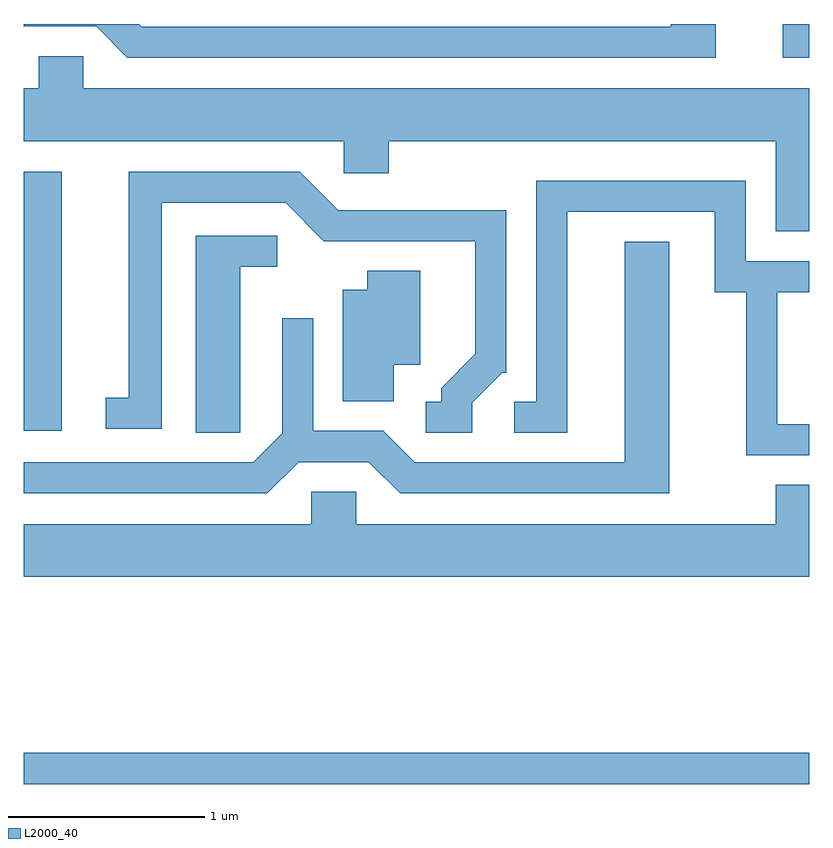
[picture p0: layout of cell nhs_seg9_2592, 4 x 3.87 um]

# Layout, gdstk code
import gdstk
lib = gdstk.Library(unit=1e-6, precision=1e-09)
def R(c, l, rs):  # rectangles x0, y0, x1, y1
    for r in rs: c.add(gdstk.rectangle(r[:2], r[2:], *l))
def P(c, l, *ps):  # polygons
    for p in ps: c.add(gdstk.Polygon(p, *l))
L2000_40 = (2000, 40)

nhs_seg9_2592 = lib.new_cell('nhs_seg9_2592')
R(nhs_seg9_2592, L2000_40, [(261.611,1968.561,265.611,1968.719), (261.611,1970.361,261.804,1971.679), (265.476,1972.261,265.611,1972.432)])
P(nhs_seg9_2592, L2000_40, [(265.134,1972.432),(264.906,1972.432),(264.906,1972.419),(262.212,1972.419),(262.199,1972.432),(261.611,1972.432),(261.611,1972.421),(261.979,1972.421),(262.139,1972.261),(265.134,1972.261)],
  [(265.611,1972.104),(261.914,1972.104),(261.914,1972.269),(261.686,1972.269),(261.686,1972.104),(261.611,1972.104),(261.611,1971.836),(263.241,1971.836),(263.241,1971.671),(263.469,1971.671),(263.469,1971.836),(265.441,1971.836),(265.441,1971.376),(265.611,1971.376)],
  [(263.894,1970.504),(264.047,1970.656),(264.069,1970.656),(264.069,1971.484),(263.212,1971.484),(263.017,1971.679),(262.146,1971.679),(262.146,1970.529),(262.028,1970.529),(262.028,1970.371),(262.314,1970.371),(262.314,1971.521),(262.944,1971.521),(263.139,1971.326),(263.911,1971.326),(263.911,1970.752),(263.736,1970.577),(263.736,1970.509),(263.658,1970.509),(263.658,1970.351),(263.894,1970.351)],
  [(265.611,1970.394),(265.449,1970.394),(265.449,1971.066),(265.611,1971.066),(265.611,1971.224),(265.289,1971.224),(265.289,1971.634),(264.221,1971.634),(264.221,1970.509),(264.108,1970.509),(264.108,1970.351),(264.379,1970.351),(264.379,1971.476),(265.131,1971.476),(265.131,1971.066),(265.291,1971.066),(265.291,1970.236),(265.611,1970.236)],
  [(262.714,1971.196),(262.903,1971.196),(262.903,1971.354),(262.486,1971.354),(262.486,1970.351),(262.714,1970.351)],
  [(263.012,1970.201),(263.369,1970.201),(263.529,1970.041),(264.899,1970.041),(264.899,1971.324),(264.671,1971.324),(264.671,1970.199),(263.602,1970.199),(263.442,1970.359),(263.084,1970.359),(263.084,1970.933),(262.926,1970.933),(262.926,1970.347),(262.779,1970.199),(261.611,1970.199),(261.611,1970.041),(262.852,1970.041)],
  [(263.494,1970.696),(263.629,1970.696),(263.629,1971.174),(263.361,1971.174),(263.361,1971.079),(263.236,1971.079),(263.236,1970.511),(263.494,1970.511)],
  [(265.611,1970.084),(265.441,1970.084),(265.441,1969.884),(263.304,1969.884),(263.304,1970.049),(263.076,1970.049),(263.076,1969.884),(261.611,1969.884),(261.611,1969.616),(265.611,1969.616)])

lib.write_gds('nhs_seg9_2592.gds')
